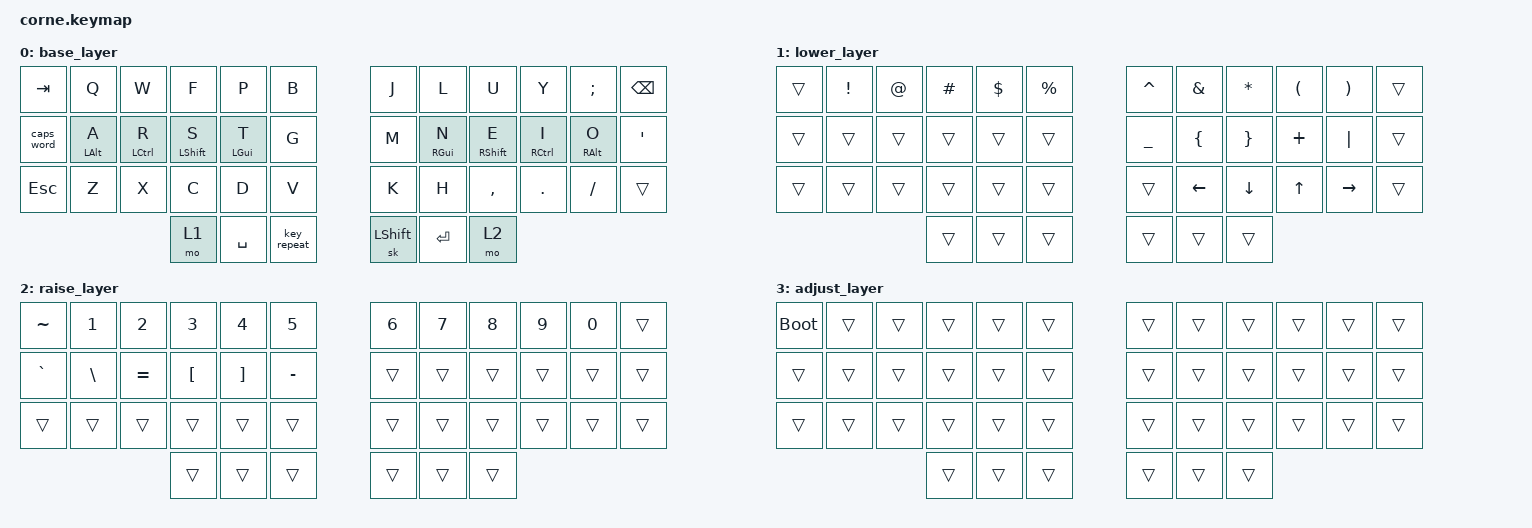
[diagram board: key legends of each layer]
// Converted from the ZSA Planck EZ Oryx keymap with qmk2zmk, then adapted
// from a 4x12 Planck matrix to a 3x6+3 split Corne 42 matrix.

#include <behaviors.dtsi>
#include <dt-bindings/zmk/keys.h>

#define KEYS_L 0 1 2 3 4 5 12 13 14 15 16 17 24 25 26 27 28 29
#define KEYS_R 6 7 8 9 10 11 18 19 20 21 22 23 30 31 32 33 34 35
#define THUMBS 36 37 38 39 40 41

/ {
    behaviors {
        hml: homerow_mod_left {
            compatible = "zmk,behavior-hold-tap";
            #binding-cells = <2>;
            flavor = "balanced";
            tapping-term-ms = <220>;
            quick-tap-ms = <175>;
            require-prior-idle-ms = <100>;
            bindings = <&kp>, <&kp>;
            hold-trigger-key-positions = <KEYS_R THUMBS>;
            hold-trigger-on-release;
        };

        hmr: homerow_mod_right {
            compatible = "zmk,behavior-hold-tap";
            #binding-cells = <2>;
            flavor = "balanced";
            tapping-term-ms = <220>;
            quick-tap-ms = <175>;
            require-prior-idle-ms = <100>;
            bindings = <&kp>, <&kp>;
            hold-trigger-key-positions = <KEYS_L THUMBS>;
            hold-trigger-on-release;
        };
    };

    conditional_layers {
        compatible = "zmk,conditional-layers";

        tri_layer {
            if-layers = <1 2>;
            then-layer = <3>;
        };
    };

    macros {
        ST_MACRO_0: ST_MACRO_0 {
            compatible = "zmk,behavior-macro";
            #binding-cells = <0>;
            wait-ms = <100>;
            tap-ms = <30>;
            bindings = <&kp LG(C)>, <&kp LG(V)>;
        };
    };

    keymap {
        compatible = "zmk,keymap";

        base_layer {
            bindings = <
                &kp TAB       &kp Q           &kp W           &kp F           &kp P           &kp B             &kp J           &kp L           &kp U            &kp Y          &kp SEMI        &kp BSPC
                &caps_word    &hml LALT A     &hml LCTRL R    &hml LSHFT S    &hml LGUI T     &kp G             &kp M           &hmr RGUI N     &hmr RSHFT E     &hmr RCTRL I   &hmr RALT O     &kp SQT
                &kp ESC       &kp Z           &kp X           &kp C           &kp D           &kp V             &kp K           &kp H           &kp COMMA        &kp DOT        &kp FSLH        &trans
                                               &mo 1           &kp SPACE       &key_repeat                       &sk LSHFT       &kp RET         &mo 2
            >;
        };

        lower_layer {
            bindings = <
                &trans        &kp EXCL        &kp AT          &kp HASH        &kp DLLR        &kp PRCNT         &kp CARET       &kp AMPS        &kp STAR         &kp LPAR       &kp RPAR        &trans
                &trans        &trans          &trans          &trans          &trans          &trans            &kp UNDER       &kp LBRC        &kp RBRC         &kp PLUS       &kp PIPE        &trans
                &trans        &trans          &trans          &trans          &trans          &trans            &trans          &kp LEFT        &kp DOWN         &kp UP         &kp RIGHT       &trans
                                               &trans          &trans          &trans                            &trans          &trans          &trans
            >;
        };

        raise_layer {
            bindings = <
                &kp TILDE     &kp N1          &kp N2          &kp N3          &kp N4          &kp N5            &kp N6          &kp N7          &kp N8           &kp N9         &kp N0          &trans
                &kp GRAVE     &kp BSLH        &kp EQUAL       &kp LBKT        &kp RBKT        &kp MINUS         &trans          &trans          &trans           &trans         &trans          &trans
                &trans        &trans          &trans          &trans          &trans          &trans            &trans          &trans          &trans           &trans         &trans          &trans
                                               &trans          &trans          &trans                            &trans          &trans          &trans
            >;
        };

        adjust_layer {
            bindings = <
                &bootloader   &trans          &trans          &trans          &trans          &trans            &trans          &trans          &trans           &trans         &trans          &trans
                &trans        &trans          &trans          &trans          &trans          &trans            &trans          &trans          &trans           &trans         &trans          &trans
                &trans        &trans          &trans          &trans          &trans          &trans            &trans          &trans          &trans           &trans         &trans          &trans
                                               &trans          &trans          &trans                            &trans          &trans          &trans
            >;
        };
    };
};
